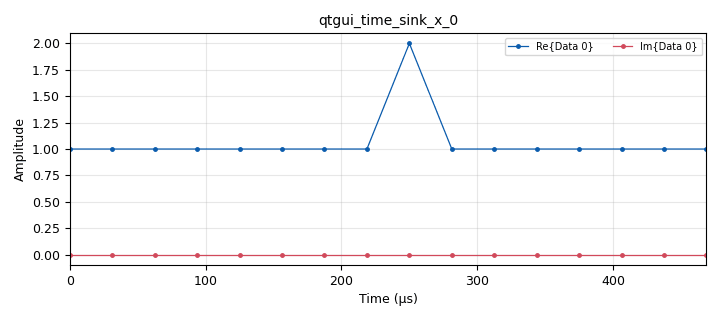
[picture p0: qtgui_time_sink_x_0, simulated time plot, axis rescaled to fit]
<?xml version='1.0' encoding='utf-8'?>
<?grc format='1' created='3.7.13'?>
<flow_graph>
<block>
<key>options</key>
<param><key>id</key><value>top_block</value></param>
<param><key>generate_options</key><value>qt_gui</value></param>
</block>
<block>
<key>variable</key>
<param><key>id</key><value>N</value></param>
<param><key>value</key><value>16</value></param>
</block>
<block>
<key>variable</key>
<param><key>id</key><value>Ymax</value></param>
<param><key>value</key><value>0.64</value></param>
</block>
<block>
<key>variable</key>
<param><key>id</key><value>samp_rate</value></param>
<param><key>value</key><value>32000</value></param>
</block>
<block>
<key>blocks_vector_source_x</key>
<param><key>id</key><value>blocks_vector_source_x_0</value></param>
<param><key>type</key><value>complex</value></param>
<param><key>repeat</key><value>True</value></param>
<param><key>vector</key><value>e_signal.pulse_delta(N)+1</value></param>
</block>
<block>
<key>epy_module</key>
<param><key>id</key><value>e_signal</value></param>
<param><key>source_code</key><value>import numpy as np
####################################################################################################
##                                  pulso rectangular                                             ##
####################################################################################################
# Lo siguiente aplica para todas las funciones aqui incluidas:
# cada funcion busca generar un tipo de forma de pulso rodeada de ceros
# los resultados se entregan en forma de un vector x
# Estos son los parametros usados:
# ntaps: es el tamano del vector y coincide con la duracion de la senal generada
# nzero: es el numero de ceros que rodean el pulso generado. Si nzero=0 no habran ceros.

def pulse_rect(ntaps,nzeros):
# Descripcion: esta funcion permite generar un pulso rectangular discreto
	n_val=ntaps-nzeros                        # el numero de valores no iguales a cero
	x=np.zeros(ntaps)                         # crea un vector de tamano ntaps lleno de ceros
	ntaps_m= int(ntaps/2)                     # el punto medio del vector
	ntaps_i= ntaps_m-int(n_val/2)             # el punto de inicio para los unos
	x[ntaps_i:ntaps_i+n_val:1]=np.ones(n_val) # llenado de los unos
	return x

def pulse_ramp(ntaps,nzeros):
# Descripcion: esta funcion permite generar un pulso en forma de rampa discreto
	n_val=ntaps-nzeros                        # el numero de valores no iguales a cero
	x=np.zeros(ntaps)                         # crea un vector de tamano ntaps lleno de ceros
	ntaps_m= int(ntaps/2)                     # el punto medio del vector
	ntaps_i= ntaps_m-int(n_val/2)             # el punto de inicio para los valores
	x[ntaps_i:ntaps_i+n_ones:1]=np.linspace(0,n_val-1,n_val) #llenado de los valores
	return x

def pulse_delta(ntaps):
# Descripcion: esta funcion permite generar la funcion impulso o funcion delta de Dirac discreta
	x=np.zeros(ntaps)                         # crea un vector de tamano ntaps lleno de ceros
	ntaps_m= int(ntaps/2)                     # el punto medio del vector
	x[ntaps_m]=1                              #llenado de los valores
	return x

def pulse_doublet(ntaps):
# Descripcion: esta funcion permite generar una funcion doblete unitario discreta
	x=np.zeros(ntaps)                         # crea un vector de tamano ntaps lleno de ceros
	ntaps_m= int(ntaps/2)                     # el punto medio del vector
	x[ntaps_m]=1                              # llenado de los valores
	x[ntaps_m+1]=-1                           # llenado de los valores
	return x

def pulse_step(ntaps, nzeros):
# Descripcion: esta funcion permite generar una funcion escalon de Heaviside
	n_val=ntaps-nzeros                        # numero de valores
	x=np.zeros(ntaps)                         # crea un vector de tamano ntaps lleno de ceros
	x[nzeros:ntaps:1]=np.ones(n_val) # llenado de los unos
	return x

def pulse_exp(ntaps,nzeros, C, a):
# Descripcion: Para generar una funcion exponencial de la forma Ca^n, donde n es tiempo discreto
	n_val=ntaps-nzeros                         # el numero de valores no iguales a cero
	x=np.zeros(ntaps)                          # crea un vector de tamano ntaps lleno de ceros
	ntaps_i = nzeros                    # el punto de inicio para los unos
	n=np.linspace(0,n_val-1,n_val)           # el vector de los valores de tiempo a usar
	x[ntaps_i:ntaps:1]=C*np.power(a,n) # llenado de los valores
	return x

</value></param>
</block>
<block>
<key>import</key>
<param><key>id</key><value>import_0</value></param>
<param><key>import</key><value>import numpy as np</value></param>
</block>
<block>
<key>qtgui_time_sink_x</key>
<param><key>id</key><value>qtgui_time_sink_x_0</value></param>
<param><key>color1</key><value>"blue"</value></param>
<param><key>label1</key><value></value></param>
<param><key>marker1</key><value>0</value></param>
<param><key>color2</key><value>"red"</value></param>
<param><key>label2</key><value></value></param>
<param><key>marker2</key><value>1</value></param>
<param><key>size</key><value>N</value></param>
<param><key>srate</key><value>samp_rate</value></param>
<param><key>type</key><value>complex</value></param>
</block>
<connection><source_block_id>blocks_vector_source_x_0</source_block_id><sink_block_id>qtgui_time_sink_x_0</sink_block_id><source_key>0</source_key><sink_key>0</sink_key></connection>
</flow_graph>
